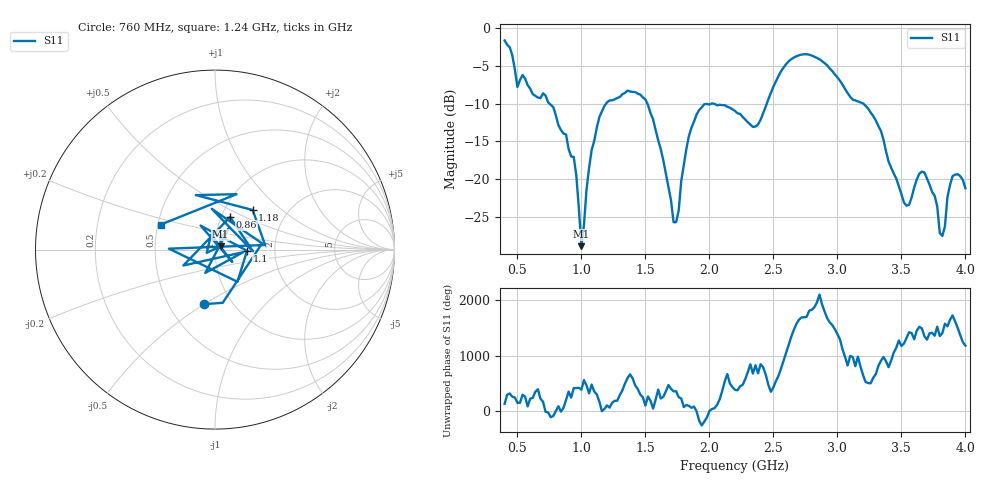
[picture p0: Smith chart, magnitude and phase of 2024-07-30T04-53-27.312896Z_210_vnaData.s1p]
!Created with skrf (http://scikit-rf.org).
# Hz S RI R 50.0
!freq ReS11 ImS11
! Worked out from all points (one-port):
!   181 points, 400 MHz to 4 GHz, reference 50 ohm
!   lowest |S11| = -28.9 dB at 1 GHz (marker M1), VSWR 1.07, Z = 53.2 + j1.94 ohm
!   |S11| at or under -10 dB: 749.9 MHz to 1.194 GHz (443.6 MHz wide, 45.7 % of centre); 1.515 GHz to 2.018 GHz (503 MHz wide, 28.5 % of centre); 3.202 GHz to end of sweep (the widest 3 of 4)
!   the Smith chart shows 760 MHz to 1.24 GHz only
!   S11 on the Smith chart (normalised r, x): 760 MHz: 0.74, -0.50; 860 MHz: 1.10, +0.42; 1.1 GHz: 1.43, -0.02; 1.18 GHz: 1.35, +0.66; 1.24 GHz: 0.52, +0.16
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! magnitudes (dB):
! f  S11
! 400 MHz  -1.7
! 500 MHz  -7.8
! 760 MHz  -10.2
! 860 MHz  -14.0
! 940 MHz  -17.1
! 1 GHz  -28.9
! 1.06 GHz  -18.5
! 1.1 GHz  -15.0
! 1.18 GHz  -10.3
! 1.24 GHz  -9.6
! 1.3 GHz  -9.1
! 1.5 GHz  -9.5
! 1.64 GHz  -17.5
! 1.72 GHz  -25.7
! 1.76 GHz  -24.2
! 1.82 GHz  -16.0
! 1.9 GHz  -11.5
! 2.2 GHz  -11.0
! 2.38 GHz  -12.8
! 2.66 GHz  -3.9
! 2.86 GHz  -4.1
! 3.1 GHz  -9.1
! 3.3 GHz  -12.2
! 3.56 GHz  -23.4
! 3.68 GHz  -19.1
! 3.82 GHz  -27.5
! 3.9 GHz  -19.6
! 4 GHz  -21.2
